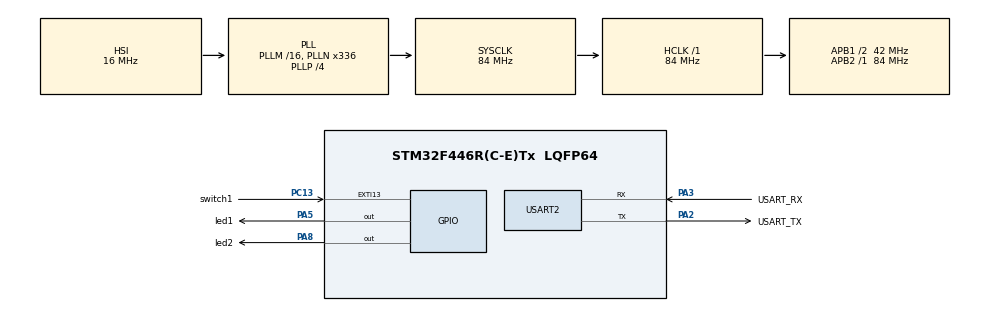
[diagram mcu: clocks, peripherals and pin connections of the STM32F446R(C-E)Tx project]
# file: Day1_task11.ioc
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Mcu.Family=STM32F4
Mcu.Name=STM32F446R(C-E)Tx
Mcu.Package=LQFP64
NVIC.EXTI15_10_IRQn=true\:0\:0\:false\:false\:true\:true\:true\:true
NVIC.PriorityGroup=NVIC_PRIORITYGROUP_0
NVIC.TIM6_DAC_IRQn=true\:0\:0\:false\:false\:true\:true\:true\:true
PA13.GPIO_Label=TMS
PA13.Mode=Serial_Wire
PA13.Signal=SYS_JTMS-SWDIO
PA14.GPIO_Label=TCK
PA14.Mode=Serial_Wire
PA14.Signal=SYS_JTCK-SWCLK
PA2.GPIO_Label=USART_TX
PA2.Mode=Asynchronous
PA2.Signal=USART2_TX
PA3.GPIO_Label=USART_RX
PA3.Mode=Asynchronous
PA3.Signal=USART2_RX
PA5.GPIO_Label=led1
PA5.Signal=GPIO_Output
PA8.GPIO_Label=led2
PA8.Signal=GPIO_Output
PB3.GPIO_Label=SWO
PB3.Signal=SYS_JTDO-SWO
PC13.GPIO_Label=switch1
PC13.GPIO_ModeDefaultEXTI=GPIO_MODE_IT_FALLING
PC13.Signal=GPXTI13
PC14-OSC32_IN.Mode=LSE-External-Oscillator
PC14-OSC32_IN.Signal=RCC_OSC32_IN
PC15-OSC32_OUT.Mode=LSE-External-Oscillator
PC15-OSC32_OUT.Signal=RCC_OSC32_OUT
PH0-OSC_IN.Mode=HSE-External-Oscillator
PH0-OSC_IN.Signal=RCC_OSC_IN
PH1-OSC_OUT.Mode=HSE-External-Oscillator
PH1-OSC_OUT.Signal=RCC_OSC_OUT
ProjectManager.HeapSize=0x200
ProjectManager.StackSize=0x400
ProjectManager.TargetToolchain=STM32CubeIDE
RCC.48MHZClocksFreq_Value=84000000
RCC.AHBFreq_Value=84000000
RCC.APB1CLKDivider=RCC_HCLK_DIV2
RCC.APB1Freq_Value=42000000
RCC.APB1TimFreq_Value=84000000
RCC.APB2Freq_Value=84000000
RCC.APB2TimFreq_Value=84000000
RCC.CortexFreq_Value=84000000
RCC.FLatency-AdvancedSettings=FLASH_LATENCY_2
RCC.HCLKFreq_Value=84000000
RCC.HSE_VALUE=8000000
RCC.HSI_VALUE=16000000
RCC.PLLN=336
RCC.PLLP=RCC_PLLP_DIV4
RCC.SYSCLKFreq_VALUE=84000000
RCC.SYSCLKSource=RCC_SYSCLKSOURCE_PLLCLK
RCC.USBFreq_Value=168000000
RCC.VCOOutputFreq_Value=336000000
TIM6.Period=1000
TIM6.Prescaler=8399
USART2.VirtualMode=VM_ASYNC
VP_TIM6_VS_ClockSourceINT.Mode=Enable_Timer
board=NUCLEO-F446RE

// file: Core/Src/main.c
/* USER CODE BEGIN Header */
/**
  ******************************************************************************
  * @file           : main.c
  * @brief          : Main program body
  ******************************************************************************
  * @attention
  *
  * Copyright (c) 2024 STMicroelectronics.
  * All rights reserved.
  *
  * This software is licensed under terms that can be found in the LICENSE file
  * in the root directory of this software component.
  * If no LICENSE file comes with this software, it is provided AS-IS.
  *
  ******************************************************************************
  */
/* USER CODE END Header */
#include "main.h"
#include <stdio.h>
#include "stm32f4xx_hal.h"

TIM_HandleTypeDef htim6;

UART_HandleTypeDef huart2;

void SystemClock_Config(void);
static void MX_GPIO_Init(void);
static void MX_USART2_UART_Init(void);
static void MX_TIM6_Init(void);

/* USER CODE BEGIN 0 */
#ifdef _GNUC_
#define PUTCHAR_PROTOTYPE int __io_putchar(int ch)
#else
#define PUTCHAR_PROTOTYPE int fputc(int ch, FILE *f)
#endif

PUTCHAR_PROTOTYPE
{
  ITM_SendChar(ch);
  return ch;
}

/* USER CODE END 0 */

int main(void)
{

  /* MCU Configuration--------------------------------------------------------*/

  /* Reset of all peripherals, Initializes the Flash interface and the Systick. */
  HAL_Init();

  /* Configure the system clock */
  SystemClock_Config();

  /* Initialize all configured peripherals */
  MX_GPIO_Init();
  MX_USART2_UART_Init();
  MX_TIM6_Init();
  /* USER CODE BEGIN 2 */
  uint8_t switchPressCount=0;
  /* USER CODE END 2 */

  /* Infinite loop */
  while (1)
  {
	  if (HAL_GPIO_ReadPin(GPIOC, switch1_Pin) == GPIO_PIN_RESET) {
	         switchPressCount++;

	         printf("Switch pressed %d times", switchPressCount);

	         if (switchPressCount % 2 == 1) {
	             HAL_GPIO_WritePin(GPIOA, led1_Pin, GPIO_PIN_SET);
	             HAL_GPIO_WritePin(GPIOA, led2_Pin, GPIO_PIN_RESET);
	             printf("LED1 ON, LED2 OFF \n");
	         } else {
	             HAL_GPIO_WritePin(GPIOA, led1_Pin, GPIO_PIN_RESET);
	             HAL_GPIO_WritePin(GPIOA, led2_Pin, GPIO_PIN_SET);
	             printf("LED1 OFF, LED2 ON \n");
	         }

	         while (HAL_GPIO_ReadPin(GPIOC, switch1_Pin) == GPIO_PIN_RESET);  // Wait for button release
	     }
  }
}

void SystemClock_Config(void)
{
  RCC_OscInitTypeDef RCC_OscInitStruct = {0};
  RCC_ClkInitTypeDef RCC_ClkInitStruct = {0};

  /** Configure the main internal regulator output voltage
  */
  __HAL_RCC_PWR_CLK_ENABLE();
  __HAL_PWR_VOLTAGESCALING_CONFIG(PWR_REGULATOR_VOLTAGE_SCALE3);

  /** Initializes the RCC Oscillators according to the specified parameters
  * in the RCC_OscInitTypeDef structure.
  */
  RCC_OscInitStruct.OscillatorType = RCC_OSCILLATORTYPE_HSI;
  RCC_OscInitStruct.HSIState = RCC_HSI_ON;
  RCC_OscInitStruct.HSICalibrationValue = RCC_HSICALIBRATION_DEFAULT;
  RCC_OscInitStruct.PLL.PLLState = RCC_PLL_ON;
  RCC_OscInitStruct.PLL.PLLSource = RCC_PLLSOURCE_HSI;
  RCC_OscInitStruct.PLL.PLLM = 16;
  RCC_OscInitStruct.PLL.PLLN = 336;
  RCC_OscInitStruct.PLL.PLLP = RCC_PLLP_DIV4;
  RCC_OscInitStruct.PLL.PLLQ = 2;
  RCC_OscInitStruct.PLL.PLLR = 2;
  if (HAL_RCC_OscConfig(&RCC_OscInitStruct) != HAL_OK)
  {
    Error_Handler();
  }

  /** Initializes the CPU, AHB and APB buses clocks
  */
  RCC_ClkInitStruct.ClockType = RCC_CLOCKTYPE_HCLK|RCC_CLOCKTYPE_SYSCLK
                              |RCC_CLOCKTYPE_PCLK1|RCC_CLOCKTYPE_PCLK2;
  RCC_ClkInitStruct.SYSCLKSource = RCC_SYSCLKSOURCE_PLLCLK;
  RCC_ClkInitStruct.AHBCLKDivider = RCC_SYSCLK_DIV1;
  RCC_ClkInitStruct.APB1CLKDivider = RCC_HCLK_DIV2;
  RCC_ClkInitStruct.APB2CLKDivider = RCC_HCLK_DIV1;

  if (HAL_RCC_ClockConfig(&RCC_ClkInitStruct, FLASH_LATENCY_2) != HAL_OK)
  {
    Error_Handler();
  }
}

static void MX_TIM6_Init(void)
{

  TIM_MasterConfigTypeDef sMasterConfig = {0};

  htim6.Instance = TIM6;
  htim6.Init.Prescaler = 8399;
  htim6.Init.CounterMode = TIM_COUNTERMODE_UP;
  htim6.Init.Period = 1000;
  htim6.Init.AutoReloadPreload = TIM_AUTORELOAD_PRELOAD_DISABLE;
  if (HAL_TIM_Base_Init(&htim6) != HAL_OK)
  {
    Error_Handler();
  }
  sMasterConfig.MasterOutputTrigger = TIM_TRGO_RESET;
  sMasterConfig.MasterSlaveMode = TIM_MASTERSLAVEMODE_DISABLE;
  if (HAL_TIMEx_MasterConfigSynchronization(&htim6, &sMasterConfig) != HAL_OK)
  {
    Error_Handler();
  }

}

static void MX_USART2_UART_Init(void)
{

  huart2.Instance = USART2;
  huart2.Init.BaudRate = 115200;
  huart2.Init.WordLength = UART_WORDLENGTH_8B;
  huart2.Init.StopBits = UART_STOPBITS_1;
  huart2.Init.Parity = UART_PARITY_NONE;
  huart2.Init.Mode = UART_MODE_TX_RX;
  huart2.Init.HwFlowCtl = UART_HWCONTROL_NONE;
  huart2.Init.OverSampling = UART_OVERSAMPLING_16;
  if (HAL_UART_Init(&huart2) != HAL_OK)
  {
    Error_Handler();
  }

}

static void MX_GPIO_Init(void)
{
  GPIO_InitTypeDef GPIO_InitStruct = {0};

  /* GPIO Ports Clock Enable */
  __HAL_RCC_GPIOC_CLK_ENABLE();
  __HAL_RCC_GPIOH_CLK_ENABLE();
  __HAL_RCC_GPIOA_CLK_ENABLE();
  __HAL_RCC_GPIOB_CLK_ENABLE();

  /*Configure GPIO pin Output Level */
  HAL_GPIO_WritePin(GPIOA, led1_Pin|led2_Pin, GPIO_PIN_RESET);

  /*Configure GPIO pin : switch1_Pin */
  GPIO_InitStruct.Pin = switch1_Pin;
  GPIO_InitStruct.Mode = GPIO_MODE_IT_FALLING;
  GPIO_InitStruct.Pull = GPIO_NOPULL;
  HAL_GPIO_Init(switch1_GPIO_Port, &GPIO_InitStruct);

  /*Configure GPIO pins : led1_Pin led2_Pin */
  GPIO_InitStruct.Pin = led1_Pin|led2_Pin;
  GPIO_InitStruct.Mode = GPIO_MODE_OUTPUT_PP;
  GPIO_InitStruct.Pull = GPIO_NOPULL;
  GPIO_InitStruct.Speed = GPIO_SPEED_FREQ_LOW;
  HAL_GPIO_Init(GPIOA, &GPIO_InitStruct);

  /* EXTI interrupt init*/
  HAL_NVIC_SetPriority(EXTI15_10_IRQn, 0, 0);
  HAL_NVIC_EnableIRQ(EXTI15_10_IRQn);

}

/* USER CODE BEGIN 4 */
int _write(int file, char *ptr, int len)
{
(void)file;
int DataIdx;

for (DataIdx = 0; DataIdx < len; DataIdx++)
{
  ITM_SendChar(*ptr++);
}
return len;
}
/* USER CODE END 4 */

void Error_Handler(void)
{
  __disable_irq();
  while (1)
  {
  }
}
